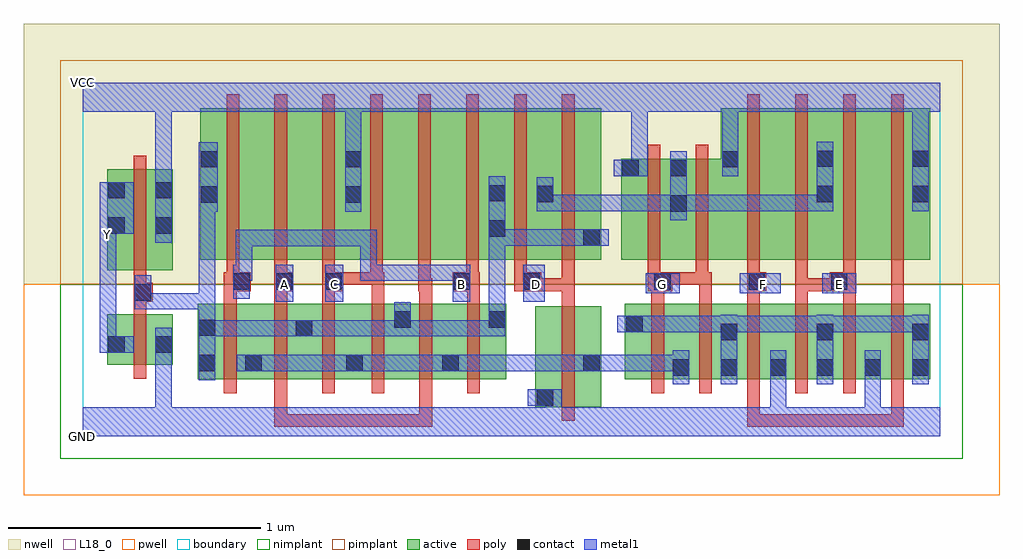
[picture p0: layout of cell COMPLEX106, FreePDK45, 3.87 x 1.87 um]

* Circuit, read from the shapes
.subckt COMPLEX106 A B C D E F G GND VCC Y
M1 GND n1 Y VSUBS nfet w=0.2u l=0.05u
M2 n2 B n1 VSUBS nfet w=0.3u l=0.05u m=2
M3 n1 A n2 VSUBS nfet w=0.3u l=0.05u m=2
M4 n2 C n1 VSUBS nfet w=0.3u l=0.05u m=2
M5 n2 D GND VSUBS nfet w=0.4u l=0.05u
M6 n2 G n3 VSUBS nfet w=0.3u l=0.05u m=2
M7 GND F n3 VSUBS nfet w=0.3u l=0.05u m=2
M8 n3 E GND VSUBS nfet w=0.3u l=0.05u m=2
M9 VCC n1 Y n4 pfet w=0.4u l=0.05u
M10 n5 B n1 n4 pfet w=0.6u l=0.05u
M11 n6 A n5 n4 pfet w=0.6u l=0.05u
M12 VCC C n6 n4 pfet w=0.6u l=0.05u
M13 n7 C VCC n4 pfet w=0.6u l=0.05u
M14 n8 A n7 n4 pfet w=0.6u l=0.05u
M15 n1 B n8 n4 pfet w=0.6u l=0.05u
M16 n9 D n1 n4 pfet w=0.6u l=0.05u m=2
M17 n9 G VCC n4 pfet w=0.4u l=0.05u m=2
M18 n10 F VCC n4 pfet w=0.6u l=0.05u
M19 n9 E n10 n4 pfet w=0.6u l=0.05u
M20 n11 E n9 n4 pfet w=0.6u l=0.05u
M21 VCC F n11 n4 pfet w=0.6u l=0.05u
.ends

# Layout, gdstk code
import gdstk
lib = gdstk.Library(unit=1e-6, precision=1e-09)
def R(c, l, rs):  # rectangles x0, y0, x1, y1
    for r in rs: c.add(gdstk.rectangle(r[:2], r[2:], *l))
def A(c, l, x, y, w, h, nx, ny, dx, dy):  # array of equal rectangles
    R(c, l, [(x+i*dx, y+j*dy, x+i*dx+w, y+j*dy+h) for i in range(nx) for j in range(ny)])
active = (1, 0)
pwell = (2, 0)
nwell = (3, 0)
nimplant = (4, 0)
pimplant = (5, 0)
poly = (9, 0)
contact = (10, 0)
metal1 = (11, 0)
L18_0 = (18, 0)
boundary = (235, 0)

complex106 = lib.new_cell('COMPLEX106')
R(complex106, active, [(1.795,0.115,2.055,0.515), (1.795,0.115,1.87,0.515), (1.98,0.147,2.055,0.515), (0.455,0.225,0.53,0.525), (0.455,0.225,0.715,0.525), (0.64,0.225,0.715,0.392), (0.64,0.225,0.915,0.525), (0.84,0.225,1.115,0.525), (1.04,0.225,1.305,0.525), (1.04,0.225,1.115,0.517), (1.23,0.225,1.495,0.525), (1.42,0.225,1.68,0.525), (1.42,0.225,1.495,0.405), (2.15,0.225,2.41,0.525), (2.335,0.225,2.6,0.525), (2.335,0.225,2.41,0.392), (2.525,0.225,2.795,0.525), (2.525,0.225,2.6,0.45), (2.72,0.225,2.795,0.437), (2.72,0.225,2.98,0.525), (2.905,0.225,3.17,0.525), (2.905,0.225,2.98,0.517), (3.095,0.225,3.36,0.525), (3.095,0.225,3.17,0.437), (3.285,0.225,3.36,0.525), (0.84,0.247,0.915,0.465), (1.23,0.247,1.305,0.5), (1.605,0.247,1.68,0.525), (2.15,0.247,2.225,0.525), (0.097,0.282,0.172,0.482), (0.097,0.282,0.357,0.482), (0.282,0.282,0.357,0.482), (0.097,0.657,0.357,1.057), (0.097,0.657,0.172,1.057), (0.282,0.657,0.357,1.057), (0.465,0.7,0.69,1.3), (0.465,0.7,0.57,1.2), (0.69,0.7,0.88,1.3), (0.88,0.7,1.11,1.3), (1.035,0.7,1.26,1.3), (1.26,0.7,1.45,1.3), (1.45,0.7,1.68,1.3), (1.605,0.7,1.68,1.2), (1.605,0.7,1.87,1.3), (1.795,0.7,2.055,1.3), (1.795,0.7,1.87,1.2), (1.98,0.7,2.055,1.047), (2.135,0.7,2.4,1.1), (2.325,0.7,2.4,1.1), (2.325,0.7,2.605,1.1), (2.53,0.7,2.755,1.3), (2.755,0.7,2.98,1.3), (2.905,0.7,3.135,1.3), (3.135,0.7,3.36,1.3), (3.285,0.7,3.36,1.3), (1.035,0.707,1.11,1.267), (2.905,0.707,2.98,1.2), (2.53,0.747,2.605,1.3), (2.135,0.907,2.21,1.1)])
R(complex106, pwell, [(-0.235,-0.235,3.635,0.602)])
R(complex106, nwell, [(-0.235,0.602,3.635,1.635)])
R(complex106, nimplant, [(-0.09,-0.09,3.49,0.602)])
R(complex106, pimplant, [(-0.09,0.602,3.49,1.49)])
A(complex106, poly, 1.145, 0.17, 0.05, 0.41, 3, 1, 0.19, 0)
A(complex106, poly, 2.255, 0.17, 0.05, 0.41, 6, 1, 0.19, 0)
A(complex106, poly, 2.635, 0.53, 0.05, 0.095, 3, 1, 0.19, 0)
A(complex106, poly, 0.57, 0.6, 0.05, 0.095, 4, 1, 0.19, 0)
A(complex106, poly, 0.57, 0.645, 0.05, 0.71, 8, 1, 0.19, 0)
A(complex106, poly, 2.635, 0.645, 0.05, 0.71, 4, 1, 0.19, 0)
R(complex106, poly, [(0.76,0.037,0.81,0.087), (0.76,0.037,0.81,0.087), (0.76,0.037,0.81,0.087), (0.76,0.037,0.81,0.22), (0.76,0.037,1.032,0.087), (0.982,0.037,1.032,0.087), (0.982,0.037,1.032,0.087), (0.982,0.037,1.032,0.087), (0.982,0.037,1.165,0.087), (1.115,0.037,1.165,0.087), (1.115,0.037,1.385,0.087), (1.335,0.037,1.385,0.087), (1.335,0.037,1.385,0.087), (1.335,0.037,1.385,0.087), (1.335,0.037,1.385,0.22), (2.635,0.037,2.685,0.087), (2.635,0.037,2.685,0.087), (2.635,0.037,2.685,0.087), (2.635,0.037,2.685,0.22), (2.635,0.037,2.842,0.087), (2.792,0.037,2.842,0.087), (2.792,0.037,2.842,0.087), (2.792,0.037,2.842,0.087), (2.792,0.037,3.007,0.087), (2.957,0.037,3.007,0.087), (2.957,0.037,3.255,0.087), (3.205,0.037,3.255,0.087), (3.205,0.037,3.255,0.087), (3.205,0.037,3.255,0.087), (3.205,0.037,3.255,0.22), (1.9,0.06,1.95,0.57), (0.56,0.17,0.61,0.58), (0.76,0.17,0.81,0.58), (0.95,0.17,1,0.58), (0.202,0.227,0.252,0.537), (0.202,0.487,0.252,0.582), (1.9,0.52,1.95,0.625), (0.56,0.53,0.61,0.625), (0.76,0.53,0.81,0.625), (0.95,0.53,1,0.625), (1.145,0.53,1.195,0.65), (1.335,0.53,1.385,0.625), (1.525,0.53,1.575,0.625), (2.255,0.53,2.305,0.625), (2.445,0.53,2.495,0.65), (3.205,0.53,3.255,0.65), (0.202,0.532,0.277,0.607), (0.202,0.557,0.252,0.652), (0.56,0.575,0.667,0.65), (0.76,0.575,0.835,0.65), (0.95,0.575,1.032,0.65), (1.33,0.575,1.38,0.695), (1.33,0.575,1.385,0.625), (1.467,0.575,1.575,0.65), (1.71,0.575,1.817,0.65), (1.767,0.575,1.817,0.625), (1.767,0.575,1.817,0.625), (1.767,0.575,1.95,0.625), (1.9,0.575,1.95,0.695), (1.9,0.575,1.95,0.625), (2.24,0.575,2.337,0.65), (2.635,0.575,2.71,0.65), (2.825,0.575,2.875,0.695), (2.825,0.575,2.875,0.625), (2.825,0.575,2.875,0.625), (2.825,0.575,2.875,0.625), (2.825,0.575,3.012,0.625), (2.962,0.575,3.065,0.65), (0.982,0.6,1.032,0.65), (0.982,0.6,1.032,0.65), (0.982,0.6,1.19,0.65), (1.14,0.6,1.195,0.65), (1.52,0.6,1.57,0.695), (1.71,0.6,1.76,0.695), (2.24,0.6,2.29,0.695), (2.287,0.6,2.337,0.65), (2.287,0.6,2.337,0.65), (2.287,0.6,2.48,0.65), (2.43,0.6,2.48,0.695), (2.43,0.6,2.495,0.65), (2.635,0.6,2.685,0.695), (3.015,0.6,3.065,0.695), (3.205,0.6,3.255,0.695), (3.205,0.6,3.255,0.65), (0.202,0.602,0.252,1.112), (2.24,0.645,2.29,1.155), (2.43,0.645,2.48,1.155)])
A(complex106, contact, 2.91, 0.24, 0.065, 0.065, 3, 1, 0.19, 0)
A(complex106, contact, 2.53, 0.38, 0.065, 0.065, 3, 1, 0.38, 0)
R(complex106, contact, [(1.8,0.12,1.865,0.185), (2.34,0.24,2.405,0.305), (2.53,0.24,2.595,0.305), (2.725,0.24,2.79,0.305), (0.46,0.257,0.525,0.322), (0.645,0.257,0.71,0.322), (1.045,0.257,1.11,0.322), (1.425,0.257,1.49,0.322), (1.985,0.257,2.05,0.322), (0.102,0.33,0.167,0.395), (0.287,0.33,0.352,0.395), (0.845,0.395,0.91,0.46), (0.46,0.397,0.525,0.462), (2.155,0.412,2.22,0.477), (1.235,0.43,1.3,0.495), (1.61,0.43,1.675,0.495), (0.207,0.537,0.272,0.602), (0.597,0.58,0.662,0.645), (0.765,0.58,0.83,0.645), (0.962,0.58,1.027,0.645), (1.472,0.58,1.537,0.645), (1.747,0.58,1.812,0.645), (2.267,0.58,2.332,0.645), (2.64,0.58,2.705,0.645), (2.967,0.58,3.032,0.645), (1.985,0.755,2.05,0.82), (1.61,0.79,1.675,0.855), (0.102,0.802,0.167,0.867), (0.287,0.802,0.352,0.867), (2.33,0.89,2.395,0.955), (0.47,0.925,0.535,0.99), (1.04,0.925,1.105,0.99), (1.8,0.927,1.865,0.992), (2.91,0.927,2.975,0.992), (3.29,0.927,3.355,0.992), (1.61,0.93,1.675,0.995), (0.102,0.942,0.167,1.007), (0.287,0.942,0.352,1.007), (2.14,1.03,2.205,1.095), (2.33,1.03,2.395,1.095), (0.47,1.065,0.535,1.13), (1.04,1.065,1.105,1.13), (2.535,1.065,2.6,1.13), (2.91,1.067,2.975,1.132), (3.29,1.067,3.355,1.132)])
A(complex106, metal1, 2.53, 0.205, 0.065, 0.275, 3, 1, 0.38, 0)
R(complex106, metal1, [(0,0,3.4,0.115), (0.287,0.05,0.352,0.115), (0.287,0.05,0.352,0.115), (0.287,0.05,0.352,0.115), (0.287,0.05,0.352,0.115), (0.287,0.05,0.352,0.36), (1.835,0.05,1.9,0.185), (2.725,0.05,2.79,0.115), (2.725,0.05,2.79,0.115), (2.725,0.05,2.79,0.27), (3.1,0.05,3.165,0.115), (3.1,0.05,3.165,0.115), (3.1,0.05,3.165,0.27), (1.765,0.12,1.9,0.185), (2.34,0.205,2.405,0.34), (2.725,0.205,2.79,0.34), (3.1,0.205,3.165,0.34), (0.46,0.222,0.525,0.497), (0.61,0.257,0.745,0.322), (0.68,0.257,0.882,0.322), (0.817,0.257,0.882,0.322), (0.817,0.257,0.882,0.322), (0.817,0.257,0.882,0.322), (0.817,0.257,1.032,0.322), (0.967,0.257,1.032,0.322), (0.967,0.257,1.075,0.322), (1.01,0.257,1.145,0.322), (1.08,0.257,1.17,0.322), (1.105,0.257,1.17,0.322), (1.105,0.257,1.317,0.322), (1.252,0.257,1.317,0.322), (1.252,0.257,1.317,0.322), (1.252,0.257,1.317,0.322), (1.252,0.257,1.455,0.322), (1.39,0.257,1.525,0.322), (1.46,0.257,1.67,0.322), (1.605,0.257,1.67,0.322), (1.605,0.257,1.67,0.322), (1.605,0.257,1.67,0.322), (1.605,0.257,1.865,0.322), (1.8,0.257,1.865,0.322), (1.8,0.257,1.865,0.322), (1.8,0.257,1.865,0.322), (1.8,0.257,2.015,0.322), (1.95,0.257,2.015,0.322), (1.95,0.257,2.015,0.322), (1.95,0.257,2.085,0.322), (2.02,0.257,2.222,0.322), (2.157,0.257,2.222,0.322), (2.157,0.257,2.222,0.322), (2.157,0.257,2.222,0.322), (2.157,0.257,2.405,0.322), (0.287,0.295,0.352,0.43), (0.067,0.33,0.202,0.395), (0.067,0.33,0.132,0.797), (0.46,0.395,0.672,0.46), (0.607,0.395,0.672,0.46), (0.607,0.395,0.672,0.46), (0.607,0.395,0.672,0.46), (0.607,0.395,0.875,0.46), (0.81,0.395,0.875,0.46), (0.81,0.395,0.875,0.46), (0.81,0.395,0.945,0.46), (0.88,0.395,1.02,0.46), (0.955,0.395,1.02,0.46), (0.955,0.395,1.162,0.46), (1.097,0.395,1.162,0.46), (1.097,0.395,1.17,0.46), (1.105,0.395,1.17,0.46), (1.105,0.395,1.3,0.46), (1.235,0.395,1.3,0.53), (1.235,0.395,1.307,0.46), (1.242,0.395,1.307,0.46), (1.242,0.395,1.532,0.46), (1.467,0.395,1.532,0.46), (1.467,0.395,1.532,0.46), (1.467,0.395,1.532,0.46), (1.467,0.395,1.675,0.46), (1.61,0.395,1.675,0.53), (2.12,0.412,2.255,0.477), (2.19,0.412,2.255,0.477), (2.19,0.412,2.255,0.477), (2.19,0.412,2.392,0.477), (2.327,0.412,2.392,0.477), (2.327,0.412,2.515,0.477), (2.45,0.412,2.515,0.477), (2.45,0.412,2.595,0.477), (2.53,0.412,2.652,0.477), (2.587,0.412,2.652,0.477), (2.587,0.412,2.79,0.477), (2.725,0.412,2.79,0.477), (2.725,0.412,2.79,0.477), (2.725,0.412,2.79,0.477), (2.725,0.412,2.975,0.477), (2.91,0.412,2.975,0.477), (2.91,0.412,2.975,0.477), (2.91,0.412,3.205,0.477), (3.14,0.412,3.205,0.477), (3.14,0.412,3.355,0.477), (3.29,0.412,3.355,0.477), (3.29,0.412,3.355,0.477), (0.46,0.432,0.525,0.567), (1.61,0.465,1.675,0.53), (1.61,0.465,1.675,0.53), (1.61,0.465,1.675,0.82), (0.207,0.502,0.272,0.637), (0.207,0.502,0.525,0.567), (0.46,0.502,0.525,0.567), (0.46,0.502,0.525,0.567), (0.46,0.502,0.525,0.567), (0.46,0.502,0.525,0.955), (0.765,0.532,0.835,0.68), (0.962,0.532,1.032,0.68), (1.467,0.532,1.537,0.68), (1.747,0.532,1.832,0.68), (0.597,0.545,0.662,0.68), (2.232,0.567,2.367,0.645), (2.605,0.567,2.767,0.645), (2.932,0.567,3.067,0.645), (0.597,0.615,0.672,0.68), (0.607,0.615,0.672,0.68), (0.607,0.615,0.672,0.817), (1.1,0.615,1.165,0.68), (1.1,0.615,1.17,0.68), (1.1,0.615,1.165,0.817), (1.105,0.615,1.17,0.68), (1.105,0.615,1.317,0.68), (1.252,0.615,1.317,0.68), (1.252,0.615,1.317,0.68), (1.252,0.615,1.317,0.68), (1.252,0.615,1.532,0.68), (1.467,0.615,1.532,0.68), (1.467,0.615,1.532,0.68), (0.067,0.732,0.132,0.867), (0.607,0.752,0.672,0.817), (0.607,0.752,0.882,0.817), (0.817,0.752,0.882,0.817), (0.817,0.752,0.882,0.817), (0.817,0.752,0.882,0.817), (0.817,0.752,1.032,0.817), (0.967,0.752,1.032,0.817), (0.967,0.752,1.165,0.817), (1.1,0.752,1.165,0.817), (1.61,0.755,1.675,1.03), (1.61,0.755,1.865,0.82), (1.8,0.755,1.865,0.82), (1.8,0.755,1.865,0.82), (1.8,0.755,1.865,0.82), (1.8,0.755,2.015,0.82), (1.95,0.755,2.015,0.82), (1.95,0.755,2.015,0.82), (1.95,0.755,2.085,0.82), (0.287,0.767,0.352,1.042), (0.067,0.802,0.132,0.867), (0.067,0.802,0.202,1.007), (2.33,0.855,2.395,1.13), (0.46,0.89,0.535,1.165), (1.04,0.89,1.105,1.165), (1.8,0.892,1.865,1.027), (1.8,0.892,2.002,0.957), (1.937,0.892,2.002,0.957), (1.937,0.892,2.002,0.957), (1.937,0.892,2.002,0.957), (1.937,0.892,2.222,0.957), (2.157,0.892,2.222,0.957), (2.157,0.892,2.222,0.957), (2.157,0.892,2.222,0.957), (2.157,0.892,2.222,0.957), (2.157,0.892,2.222,0.957), (2.157,0.892,2.395,0.957), (2.33,0.892,2.515,0.957), (2.45,0.892,2.515,0.957), (2.45,0.892,2.652,0.957), (2.587,0.892,2.652,0.957), (2.587,0.892,2.652,0.957), (2.587,0.892,2.652,0.957), (2.587,0.892,2.79,0.957), (2.725,0.892,2.79,0.957), (2.725,0.892,2.79,0.957), (2.725,0.892,2.79,0.957), (2.725,0.892,2.975,0.957), (2.91,0.892,2.975,1.167), (3.29,0.892,3.355,1.167), (0.287,0.977,0.352,1.042), (0.287,0.977,0.352,1.042), (0.287,0.977,0.352,1.35), (2.105,1.03,2.24,1.095), (2.175,1.03,2.24,1.35), (2.535,1.03,2.6,1.165), (1.04,1.1,1.105,1.35), (2.535,1.1,2.6,1.35), (3.29,1.102,3.355,1.35), (0,1.285,3.4,1.4), (2.175,1.285,2.24,1.35), (2.175,1.285,2.24,1.35)])
R(complex106, L18_0, [(0,0,3.4,0.115), (0.287,0.05,0.352,0.115), (0.287,0.05,0.352,0.115), (0.287,0.05,0.352,0.115), (0.287,0.05,0.352,0.115), (0.287,0.05,0.352,0.36), (1.835,0.05,1.9,0.185), (2.725,0.05,2.79,0.115), (2.725,0.05,2.79,0.115), (2.725,0.05,2.79,0.27), (3.1,0.05,3.165,0.115), (3.1,0.05,3.165,0.115), (3.1,0.05,3.165,0.27), (1.765,0.12,1.9,0.185), (2.725,0.205,2.79,0.34), (3.1,0.205,3.165,0.34), (0.287,0.295,0.352,0.43), (0.067,0.33,0.202,0.395), (0.067,0.33,0.132,0.797), (0.765,0.532,0.835,0.68), (0.962,0.532,1.032,0.68), (1.467,0.532,1.537,0.68), (1.747,0.532,1.832,0.68), (0.597,0.545,0.662,0.68), (0.767,0.567,0.832,0.632), (0.967,0.567,1.032,0.632), (1.467,0.567,1.532,0.632), (1.767,0.567,1.832,0.632), (2.232,0.567,2.367,0.645), (2.267,0.567,2.332,0.632), (2.605,0.567,2.767,0.645), (2.667,0.567,2.732,0.632), (2.932,0.567,3.067,0.645), (2.967,0.567,3.032,0.632), (0.597,0.615,0.672,0.68), (0.607,0.615,0.672,0.68), (0.607,0.615,0.672,0.817), (1.1,0.615,1.165,0.68), (1.1,0.615,1.165,0.817), (1.1,0.615,1.17,0.68), (1.105,0.615,1.17,0.68), (1.105,0.615,1.317,0.68), (1.252,0.615,1.317,0.68), (1.252,0.615,1.317,0.68), (1.252,0.615,1.317,0.68), (1.252,0.615,1.532,0.68), (1.467,0.615,1.532,0.68), (1.467,0.615,1.532,0.68), (0.067,0.732,0.132,0.867), (0.607,0.752,0.672,0.817), (0.607,0.752,0.882,0.817), (0.817,0.752,0.882,0.817), (0.817,0.752,0.882,0.817), (0.817,0.752,0.882,0.817), (0.817,0.752,1.032,0.817), (0.967,0.752,1.032,0.817), (0.967,0.752,1.165,0.817), (1.1,0.752,1.165,0.817), (0.067,0.767,0.132,0.832), (0.287,0.767,0.352,1.042), (0.067,0.802,0.202,1.007), (0.067,0.802,0.132,0.867), (1.04,0.89,1.105,1.165), (3.29,0.892,3.355,1.167), (0.287,0.977,0.352,1.042), (0.287,0.977,0.352,1.042), (0.287,0.977,0.352,1.35), (2.105,1.03,2.24,1.095), (2.175,1.03,2.24,1.35), (2.535,1.03,2.6,1.165), (1.04,1.1,1.105,1.35), (2.535,1.1,2.6,1.35), (3.29,1.102,3.355,1.35), (0,1.285,3.4,1.4), (2.175,1.285,2.24,1.35), (2.175,1.285,2.24,1.35)])
R(complex106, boundary, [(0,0,3.4,1.4)])
complex106.add(gdstk.Label('A', (0.8,0.6), layer=11, texttype=0))
complex106.add(gdstk.Label('B', (1.5,0.6), layer=11, texttype=0))
complex106.add(gdstk.Label('C', (1,0.6), layer=11, texttype=0))
complex106.add(gdstk.Label('D', (1.8,0.6), layer=11, texttype=0))
complex106.add(gdstk.Label('E', (3,0.6), layer=11, texttype=0))
complex106.add(gdstk.Label('F', (2.7,0.6), layer=11, texttype=0))
complex106.add(gdstk.Label('G', (2.3,0.6), layer=11, texttype=0))
complex106.add(gdstk.Label('Y', (0.1,0.8), layer=11, texttype=0))
complex106.add(gdstk.Label('VCC', (0,1.4), layer=11, texttype=0))
complex106.add(gdstk.Label('GND', (0,0), layer=11, texttype=0))

lib.write_gds('COMPLEX106.gds')
